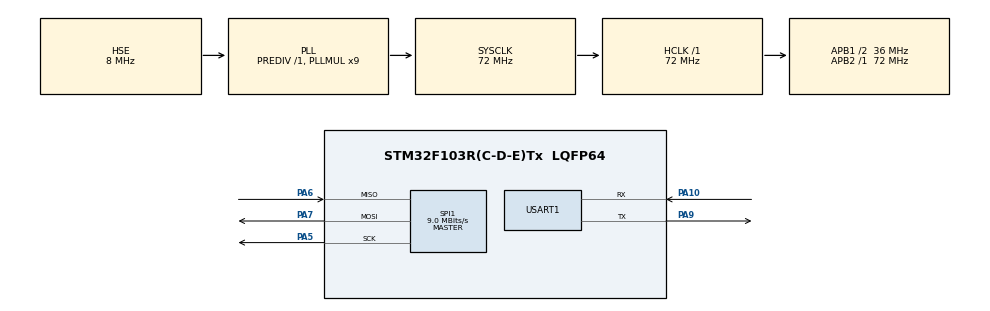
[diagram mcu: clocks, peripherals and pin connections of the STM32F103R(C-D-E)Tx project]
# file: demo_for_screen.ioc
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Mcu.Family=STM32F1
Mcu.Name=STM32F103R(C-D-E)Tx
Mcu.Package=LQFP64
NVIC.PriorityGroup=NVIC_PRIORITYGROUP_2
NVIC.SPI1_IRQn=true\:1\:0\:true\:false\:true\:true\:true\:true
NVIC.TIM2_IRQn=true\:1\:0\:true\:false\:true\:true\:true\:true
PA10.Mode=Asynchronous
PA10.Signal=USART1_RX
PA13.Mode=Serial_Wire
PA13.Signal=SYS_JTMS-SWDIO
PA14.Mode=Serial_Wire
PA14.Signal=SYS_JTCK-SWCLK
PA5.Mode=Full_Duplex_Master
PA5.Signal=SPI1_SCK
PA6.Mode=Full_Duplex_Master
PA6.Signal=SPI1_MISO
PA7.Mode=Full_Duplex_Master
PA7.Signal=SPI1_MOSI
PA9.Mode=Asynchronous
PA9.Signal=USART1_TX
PD0-OSC_IN.Mode=HSE-External-Oscillator
PD0-OSC_IN.Signal=RCC_OSC_IN
PD1-OSC_OUT.Mode=HSE-External-Oscillator
PD1-OSC_OUT.Signal=RCC_OSC_OUT
ProjectManager.HeapSize=0x200
ProjectManager.StackSize=0x400
ProjectManager.TargetToolchain=STM32CubeIDE
RCC.AHBFreq_Value=72000000
RCC.APB1CLKDivider=RCC_HCLK_DIV2
RCC.APB1Freq_Value=36000000
RCC.APB1TimFreq_Value=72000000
RCC.APB2Freq_Value=72000000
RCC.APB2TimFreq_Value=72000000
RCC.HCLKFreq_Value=72000000
RCC.PLLMUL=RCC_PLL_MUL9
RCC.PLLSourceVirtual=RCC_PLLSOURCE_HSE
RCC.SYSCLKFreq_VALUE=72000000
RCC.SYSCLKSource=RCC_SYSCLKSOURCE_PLLCLK
RCC.USBFreq_Value=72000000
SPI1.BaudRatePrescaler=SPI_BAUDRATEPRESCALER_8
SPI1.CalculateBaudRate=9.0 MBits/s
SPI1.Direction=SPI_DIRECTION_2LINES
SPI1.Mode=SPI_MODE_MASTER
SPI1.VirtualType=VM_MASTER
TIM2.Period=999
TIM2.Prescaler=7199
USART1.VirtualMode=VM_ASYNC
VP_TIM2_VS_ClockSourceINT.Mode=Internal
board=custom

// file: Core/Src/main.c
/* USER CODE BEGIN Header */
/**
  ******************************************************************************
  * @file           : main.c
  * @brief          : Main program body
  ******************************************************************************
  * @attention
  *
  * Copyright (c) 2022 STMicroelectronics.
  * All rights reserved.
  *
  * This software is licensed under terms that can be found in the LICENSE file
  * in the root directory of this software component.
  * If no LICENSE file comes with this software, it is provided AS-IS.
  *
  ******************************************************************************
  */
/* USER CODE END Header */
#include "main.h"

/* USER CODE BEGIN Includes */

/* Private includes ----------------------------------------------------------*/
/* USER CODE BEGIN Includes */
#include "sys.h"
#include "delay.h"
//#include "usart.h"
#include "led.h"
#include "key.h"
#include "lcd.h"
//#include "usmart.h"
#include "touch.h"
#include "24cxx.h"
#include "24l01.h" //通信驱动 基于spi进行通信
#include <stdlib.h>
#include <time.h>
#include <math.h>
#include <stdint.h>
//#include "remote.h" 红外遥控驱动
/* USER CODE END Includes */

/* USER CODE BEGIN PTD */
// 玩家形状尺寸
#define PLAYER_CIRCLE_RADIUS 20
#define PLAYER_RECT_WIDTH 40
#define PLAYER_RECT_HEIGHT 30
#define PLAYER_TRIANGLE_SIZE 40 // 假设为等边三角形，高度为40

// 障碍物形状尺寸
#define OBSTACLE_RECT_WIDTH 40
#define OBSTACLE_RECT_HEIGHT 30
#define OBSTACLE_CIRCLE_RADIUS 20
#define OBSTACLE_TRIANGLE_SIZE 40 // 假设为等边三角形，高度为40
#define MAX_OBSTACLES 4
typedef enum {
    SCENE_RUNNING,
    SCENE_SWIMMING,
    SCENE_ROWING,
    SCENE_MINING,
    SCENE_COUNT // 场景总数
} SceneType;

typedef enum {
    SHAPE_CIRCLE = 0,
    SHAPE_TRIANGLE,
    SHAPE_RECTANGLE,
    SHAPE_JUMP_ELLIPSE,      // 3
    SHAPE_JUMP_TRIANGLE_REVERSE, // 4
    SHAPE_JUMP_RECTANGLE_SMALL    // 5
} ShapeType;

ShapeType shape = SHAPE_CIRCLE;

// 当前场景
SceneType current_scene = SCENE_RUNNING;
int hit(int x, int y, u16 x_coordinate, u16 y_coordinate, ShapeType shape, int obstacle_shape);
typedef struct {
    u16 x;
    u16 y;
    u8 type; // 障碍物类型，根据场景不同可能有不同的表现
} Obstacle;

typedef enum {
    PLAYER_STATE_IDLE = 0,
    PLAYER_STATE_JUMPING,
    // 其他状态...
} PlayerState;
PlayerState player_state = PLAYER_STATE_IDLE;
Obstacle obstacles[MAX_OBSTACLES];

/* USER CODE END PTD */

/* USER CODE BEGIN PD */
unsigned char DATA_TO_SEND[800];
int state_num = 0;
u8 STATE[30];
UART_HandleTypeDef huart1;
int speed = 0;                 // 跑步速度
int initial_speed = 5;
u8 counter = 0;
//int x1,x2,y1,y2; //障碍物坐标
u16 background_color = WHITE;
/* USER CODE END PD */

/* USER CODE BEGIN PM */
void LCD_Draw_Shape(u16 x, u16 y, ShapeType shape) {
    switch(shape) {
        case SHAPE_CIRCLE:
            LCD_Draw_Circle(x, y, PLAYER_CIRCLE_RADIUS);
            break;
        case SHAPE_TRIANGLE:
            LCD_Draw_Triangle(x - 20, y + 20, x, y - 20, x + 20, y + 20);
            break;
        case SHAPE_RECTANGLE:
            LCD_DrawRectangle(x - 20, y - 15, x + 20, y + 15);
            break;
        case SHAPE_JUMP_ELLIPSE:
            LCD_Draw_Ellipse(x, y, 30, 15); // 确保有此函数
            break;
        case SHAPE_JUMP_TRIANGLE_REVERSE:
            LCD_Draw_Triangle(x - 20, y - 20, x, y + 20, x + 20, y - 20);
            break;
        case SHAPE_JUMP_RECTANGLE_SMALL:
            LCD_DrawRectangle(x - 10, y - 7, x + 10, y + 7);
            break;
        default:
            break;
    }
}

void LCD_Clear_Shape(u16 x, u16 y, u16 background_color, ShapeType shape) {
    POINT_COLOR = background_color;
    LCD_Draw_Shape(x, y, shape);
}

u16 perform_jump(u16 x, u16 y, ShapeType original_shape, ShapeType jump_shape, u16 background_color) {
    // 清除原始形状
    LCD_Clear_Shape(x, y, background_color, original_shape);
    y-=10;

    // 绘制跳跃形状
    POINT_COLOR = RED;
    LCD_Draw_Shape(x, y, jump_shape);

    // 延迟
    HAL_Delay(300);

    // 清除跳跃形状
    LCD_Clear_Shape(x, y, background_color, jump_shape);
    POINT_COLOR = RED;

    // 恢复原始形状
    LCD_Draw_Shape(x, y, original_shape);
    HAL_Delay(300);
    return y;
}

// 修改后的跳跃分支
u16 handle_jump(u16 x_coordinate, u16 y_coordinate, ShapeType current_shape, SceneType current_scene) {
    // 跳跃
    LED1 = !LED1;

    ShapeType jump_shape = SHAPE_CIRCLE; // 默认值

    // 根据当前场景和形状选择跳跃时的形状
    switch(current_scene) {
        case SCENE_RUNNING:
            jump_shape = SHAPE_JUMP_ELLIPSE;
            break;
        case SCENE_SWIMMING:
            // 例如，游泳场景的跳跃形状
        	jump_shape = SHAPE_JUMP_ELLIPSE;
            break;
        case SCENE_ROWING:
            // 例如，划船场景的跳跃形状
            // jump_shape = SHAPE_JUMP_ROWING; // 需要定义
        	jump_shape = SHAPE_JUMP_TRIANGLE_REVERSE;
            break;
        case SCENE_MINING:
            // 例如，采矿场景的跳跃形状
            // jump_shape = SHAPE_JUMP_MINING; // 需要定义
        	jump_shape = SHAPE_JUMP_RECTANGLE_SMALL;
            break;
        default:
            jump_shape = current_shape; // 默认不变
            break;
    }

    // 执行跳跃动画

    // 调整y坐标
    if(y_coordinate - 30 > 20){
        // 检查是否撞到障碍物
        for(int i = 0; i < MAX_OBSTACLES; i++) {
            if(hit(obstacles[i].x, obstacles[i].y, x_coordinate, y_coordinate - 90, current_shape, obstacles[i].type)) {
                // 过晚跳跃会撞到障碍物
                speed = 0;
                LCD_Clear(background_color);
                LCD_ShowString(lcddev.width / 2 - 150, lcddev.height / 2, 300, 24, 24, "You are dead!");
                HAL_Delay(1000);
                LCD_Clear(background_color);
                LCD_DisplayOff();
                return -1; // 发生碰撞后退出循环
            }
        }
        u16 temp = y_coordinate;
        y_coordinate -= 90;
        while(temp > y_coordinate){
        	temp = perform_jump(x_coordinate, temp, current_shape, jump_shape, background_color);
        }
        LCD_Clear(background_color);
    }
    return y_coordinate;
}

void init_random() {
    srand(HAL_GetTick());
}
static inline float clampf(float value, float min, float max)
{
    if(value < min) return min;
    if(value > max) return max;
    return value;
}
static inline float distance_squared(float x1, float y1, float x2, float y2)
{
    float dx = x1 - x2;
    float dy = y1 - y2;
    return dx * dx + dy * dy;
}
/**
 * @brief 检查点是否在三角形内
 * @param px 点的X坐标
 * @param py 点的Y坐标
 * @param x0 三角形第一个顶点的X坐标
 * @param y0 三角形第一个顶点的Y坐标
 * @param x1 三角形第二个顶点的X坐标
 * @param y1 三角形第二个顶点的Y坐标
 * @param x2 三角形第三个顶点的X坐标
 * @param y2 三角形第三个顶点的Y坐标
 * @return 1表示点在三角形内，0表示不在
 */
int point_in_triangle(float px, float py, float x0, float y0, float x1, float y1, float x2, float y2)
{
    float denominator = ((y1 - y2)*(x0 - x2) + (x2 - x1)*(y0 - y2));
    if (denominator == 0) return 0; // 三角形退化

    float a = ((y1 - y2)*(px - x2) + (x2 - x1)*(py - y2)) / denominator;
    float b = ((y2 - y0)*(px - x2) + (x0 - x2)*(py - y2)) / denominator;
    float c = 1.0f - a - b;

    return (a >= 0) && (b >= 0) && (c >= 0);
}

/**
 * @brief 计算点到线段的最短距离
 * @param px 点的X坐标
 * @param py 点的Y坐标
 * @param x1 线段起点的X坐标
 * @param y1 线段起点的Y坐标
 * @param x2 线段终点的X坐标
 * @param y2 线段终点的Y坐标
 * @return 点到线段的距离
 */
float distance_point_to_segment(float px, float py, float x1, float y1, float x2, float y2)
{
    float dx = x2 - x1;
    float dy = y2 - y1;

    if(dx == 0 && dy == 0) {
        // 线段退化为一个点
        return sqrtf(distance_squared(px, py, x1, y1));
    }

    float t = ((px - x1) * dx + (py - y1) * dy) / (dx * dx + dy * dy);
    t = clampf(t, 0.0f, 1.0f);

    float closest_x = x1 + t * dx;
    float closest_y = y1 + t * dy;

    return sqrtf(distance_squared(px, py, closest_x, closest_y));
}
/**
 * @brief 检查圆形与矩形是否碰撞
 * @param cx 圆心X坐标
 * @param cy 圆心Y坐标
 * @param radius 圆的半径
 * @param rect_center_x 矩形中心X坐标
 * @param rect_center_y 矩形中心Y坐标
 * @param rect_width 矩形宽度
 * @param rect_height 矩形高度
 * @return 1表示碰撞，0表示不碰撞
 */
int circle_rectangle_collision(float cx, float cy, float radius, float rect_center_x, float rect_center_y, float rect_width, float rect_height)
{
    float rect_x = rect_center_x - rect_width / 2;
    float rect_y = rect_center_y - rect_height / 2;

    float closest_x = clampf(cx, rect_x, rect_x + rect_width);
    float closest_y = clampf(cy, rect_y, rect_y + rect_height);

    float dist_sq = distance_squared(cx, cy, closest_x, closest_y);

    return (dist_sq <= (radius * radius));
}
/**
 * @brief 检查两个圆形是否碰撞
 * @param cx1 第一个圆心X坐标
 * @param cy1 第一个圆心Y坐标
 * @param r1 第一个圆的半径
 * @param cx2 第二个圆心X坐标
 * @param cy2 第二个圆心Y坐标
 * @param r2 第二个圆的半径
 * @return 1表示碰撞，0表示不碰撞
 */
int circle_circle_collision(float cx1, float cy1, float r1, float cx2, float cy2, float r2)
{
    float dist_sq = distance_squared(cx1, cy1, cx2, cy2);
    float radii_sum_sq = (r1 + r2) * (r1 + r2);
    return (dist_sq <= radii_sum_sq);
}
/**
 * @brief 检查圆形与三角形是否碰撞
 * @param cx 圆心X坐标
 * @param cy 圆心Y坐标
 * @param radius 圆的半径
 * @param tx 三角形中心X坐标
 * @param ty 三角形中心Y坐标
 * @param size 三角形尺寸（假设为等边三角形，高度）
 * @return 1表示碰撞，0表示不碰撞
 */
int circle_triangle_collision(float cx, float cy, float radius, float tx, float ty, float size)
{
    // 计算三角形的三个顶点坐标（假设为等边三角形，顶点朝上）
    float h = size; // 高度
    float half_base = size / 2.0f;

    float x0 = tx;
    float y0 = ty - (2.0f / 3.0f) * h;

    float x1 = tx - half_base;
    float y1 = ty + (1.0f / 3.0f) * h;

    float x2 = tx + half_base;
    float y2 = ty + (1.0f / 3.0f) * h;

    // 检查圆心是否在三角形内
    if(point_in_triangle(cx, cy, x0, y0, x1, y1, x2, y2)) return 1;

    // 检查圆是否与三角形的任意一条边相交
    if(distance_point_to_segment(cx, cy, x0, y0, x1, y1) <= radius) return 1;
    if(distance_point_to_segment(cx, cy, x1, y1, x2, y2) <= radius) return 1;
    if(distance_point_to_segment(cx, cy, x2, y2, x0, y0) <= radius) return 1;

    return 0;
}
/**
 * @brief 检查三角形与矩形是否碰撞
 * @param tx 三角形中心X坐标
 * @param ty 三角形中心Y坐标
 * @param size 三角形尺寸（假设为等边三角形，高度）
 * @param rx 矩形中心X坐标
 * @param ry 矩形中心Y坐标
 * @param rw 矩形宽度
 * @param rh 矩形高度
 * @return 1表示碰撞，0表示不碰撞
 */
int triangle_rectangle_collision(float tx, float ty, float size, float rx, float ry, float rw, float rh)
{
    // 计算三角形的三个顶点坐标（假设为等边三角形，顶点朝上）
    float h = size; // 高度
    float half_base = size / 2.0f;

    float x0 = tx;
    float y0 = ty - (2.0f / 3.0f) * h;

    float x1 = tx - half_base;
    float y1 = ty + (1.0f / 3.0f) * h;

    float x2 = tx + half_base;
    float y2 = ty + (1.0f / 3.0f) * h;

    // 矩形的四个顶点
    float rect_x_min = rx - rw / 2.0f;
    float rect_y_min = ry - rh / 2.0f;
    float rect_x_max = rx + rw / 2.0f;
    float rect_y_max = ry + rh / 2.0f;

    // 检查三角形的任意一个顶点是否在矩形内
    if( (x0 >= rect_x_min && x0 <= rect_x_max && y0 >= rect_y_min && y0 <= rect_y_max) ||
        (x1 >= rect_x_min && x1 <= rect_x_max && y1 >= rect_y_min && y1 <= rect_y_max) ||
        (x2 >= rect_x_min && x2 <= rect_x_max && y2 >= rect_y_min && y2 <= rect_y_max) )
        return 1;

    // 检查矩形的任意一个顶点是否在三角形内
    if(point_in_triangle(rect_x_min, rect_y_min, x0, y0, x1, y1, x2, y2)) return 1;
    if(point_in_triangle(rect_x_max, rect_y_min, x0, y0, x1, y1, x2, y2)) return 1;
    if(point_in_triangle(rect_x_max, rect_y_max, x0, y0, x1, y1, x2, y2)) return 1;
    if(point_in_triangle(rect_x_min, rect_y_max, x0, y0, x1, y1, x2, y2)) return 1;

    // 可选：检查三角形的边是否与矩形的边相交
    // 为简化，暂不实现

    return 0;
}
/**
 * @brief 检查两个三角形是否碰撞
 * @param tx1 第一个三角形的中心X坐标
 * @param ty1 第一个三角形的中心Y坐标
 * @param size1 第一个三角形的尺寸（假设为等边三角形，高度）
 * @param tx2 第二个三角形的中心X坐标
 * @param ty2 第二个三角形的中心Y坐标
 * @param size2 第二个三角形的尺寸（假设为等边三角形，高度）
 * @return 1表示碰撞，0表示不碰撞
 */
int triangle_triangle_collision(float tx1, float ty1, float size1, float tx2, float ty2, float size2)
{
    // 计算第一个三角形的三个顶点坐标（假设为等边三角形，顶点朝上）
    float h1 = size1;
    float half_base1 = size1 / 2.0f;

    float x0_1 = tx1;
    float y0_1 = ty1 - (2.0f / 3.0f) * h1;

    float x1_1 = tx1 - half_base1;
    float y1_1 = ty1 + (1.0f / 3.0f) * h1;

    float x2_1 = tx1 + half_base1;
    float y2_1 = ty1 + (1.0f / 3.0f) * h1;

    // 计算第二个三角形的三个顶点坐标（假设为等边三角形，顶点朝上）
    float h2 = size2;
    float half_base2 = size2 / 2.0f;

    float x0_2 = tx2;
    float y0_2 = ty2 - (2.0f / 3.0f) * h2;

    float x1_2 = tx2 - half_base2;
    float y1_2 = ty2 + (1.0f / 3.0f) * h2;

    float x2_2 = tx2 + half_base2;
    float y2_2 = ty2 + (1.0f / 3.0f) * h2;

    // 检查第一个三角形的任意一个顶点是否在第二个三角形内
    if(point_in_triangle(x0_1, y0_1, x0_2, y0_2, x1_2, y1_2, x2_2, y2_2)) return 1;
    if(point_in_triangle(x1_1, y1_1, x0_2, y0_2, x1_2, y1_2, x2_2, y2_2)) return 1;
    if(point_in_triangle(x2_1, y2_1, x0_2, y0_2, x1_2, y1_2, x2_2, y2_2)) return 1;

    // 检查第二个三角形的任意一个顶点是否在第一个三角形内
    if(point_in_triangle(x0_2, y0_2, x0_1, y0_1, x1_1, y1_1, x2_1, y2_1)) return 1;
    if(point_in_triangle(x1_2, y1_2, x0_1, y0_1, x1_1, y1_1, x2_1, y2_1)) return 1;
    if(point_in_triangle(x2_2, y2_2, x0_1, y0_1, x1_1, y1_1, x2_1, y2_1)) return 1;

    // 可选：检查两个三角形的边是否相交
    // 为简化，暂不实现

    return 0;
}

void generate_obstacles() {
    for(int i = 0; i < MAX_OBSTACLES; i++) {
        obstacles[i].x = rand() % (lcddev.width - 40) + 20; // 确保障碍物在屏幕内
        obstacles[i].y = rand() % (lcddev.height - 100) + 50; // 避免生成在玩家初始位置
        obstacles[i].type = rand() % 3; // 根据需要定义不同类型的障碍物
    }
}

void draw_obstacles() {
    for(int i = 0; i < MAX_OBSTACLES; i++) {
        if(obstacles[i].type == 0) {
            // 绘制矩形障碍物
            LCD_DrawRectangle(obstacles[i].x, obstacles[i].y, obstacles[i].x + 40, obstacles[i].y + 30);
        }
        else if(obstacles[i].type == 1) {
            // 绘制圆形障碍物
            LCD_Draw_Circle(obstacles[i].x, obstacles[i].y, 20);
        }
        else if(obstacles[i].type == 2) {
            // 绘制三角形障碍物（假设有此函数）
            // 需要根据具体的LCD库实现绘制三角形
             LCD_Draw_Triangle(obstacles[i].x-20,obstacles[i].y+20,obstacles[i].x,obstacles[i].y-20,obstacles[i].x+20,obstacles[i].y+20);
        }
    }
}

void draw_scene_background() {
    switch(current_scene) {
        case SCENE_RUNNING:
            // 绘制跑步场景背景
        	background_color = WHITE;
        	shape = SHAPE_CIRCLE;
            LCD_Clear(WHITE);
            // 可以添加更多跑步场景的元素
            break;
        case SCENE_SWIMMING:
            // 绘制游泳场景背景
        	background_color = CYAN;
            LCD_Clear(CYAN);
            shape = SHAPE_CIRCLE;
            // 可以添加更多游泳场景的元素
            break;
        case SCENE_ROWING:
            // 绘制划船场景背景
        	background_color = BLUE;
            LCD_Clear(BLUE);
            shape = SHAPE_TRIANGLE;
            // 可以添加更多划船场景的元素
            break;
        case SCENE_MINING:
            // 绘制采矿场景背景
        	background_color = GRAY;
            LCD_Clear(GRAY);
            shape = SHAPE_RECTANGLE;
            // 可以添加更多采矿场景的元素
            break;
        default:
        	background_color = WHITE;
            LCD_Clear(WHITE);
            shape = SHAPE_CIRCLE;
            break;
    }
}
void switch_scene() {
    current_scene = (current_scene + 1) % SCENE_COUNT;
    draw_scene_background();
    generate_obstacles();
}
//清空屏幕并在右上角显�???"RST"
void Load_Drow_Dialog(void)
{
	LCD_Clear(WHITE);//清屏
 	POINT_COLOR=BLUE;//设置字体为蓝�???
	LCD_ShowString(lcddev.width-24,0,200,16,16,"RST");//显示清屏区域
  	POINT_COLOR=RED;//设置画笔蓝色
}
////////////////////////////////////////////////////////////////////////////////
//电容触摸屏专有部�???
//画水平线
//x0,y0:坐标
//len:线长�???
//color:颜色
void gui_draw_hline(u16 x0,u16 y0,u16 len,u16 color)
{
	if(len==0)return;
	LCD_Fill(x0,y0,x0+len-1,y0,color);
}
//画实心圆
//x0,y0:坐标
//r:半径
//color:颜色
void gui_fill_circle(u16 x0,u16 y0,u16 r,u16 color)
{
	u32 i;
	u32 imax = ((u32)r*707)/1000+1;
	u32 sqmax = (u32)r*(u32)r+(u32)r/2;
	u32 x=r;
	gui_draw_hline(x0-r,y0,2*r,color);
	for (i=1;i<=imax;i++)
	{
		if ((i*i+x*x)>sqmax)// draw lines from outside
		{
 			if (x>imax)
			{
				gui_draw_hline (x0-i+1,y0+x,2*(i-1),color);
				gui_draw_hline (x0-i+1,y0-x,2*(i-1),color);
			}
			x--;
		}
		// draw lines from inside (center)
		gui_draw_hline(x0-x,y0+i,2*x,color);
		gui_draw_hline(x0-x,y0-i,2*x,color);
	}
}
//两个数之差的绝对�???
//x1,x2：需取差值的两个�???
//返回值：|x1-x2|
u16 my_abs(u16 x1,u16 x2)
{
	if(x1>x2)return x1-x2;
	else return x2-x1;
}
//画一条粗�???
//(x1,y1),(x2,y2):线条的起始坐�???
//size：线条的粗细程度
//color：线条的颜色

void screen_print(){
	LCD_Clear(WHITE);//清屏
	POINT_COLOR=BLUE;//设置字体为蓝�??
	LCD_ShowString(lcddev.width-24,0,200,16,16,"RST");//显示清屏区域
	LCD_ShowString(0,0,200,24,24, "SHOW PICTURE");
	LCD_ShowString(60,60,200,24,24, "SEND MESSAGE");
	LCD_ShowString(0, lcddev.height-24, 200, 16, 16, STATE);
	LCD_ShowString(0,110,200,24,24,"POKEMON GO");
	POINT_COLOR=RED;//设置画笔为红�??

}

void screen_draw_track(){
    // 根据当前场景绘制不同的跑道
    for (int i = 0; i <= lcddev.height - 50; i += 50){
        if(current_scene == SCENE_RUNNING) {
            POINT_COLOR = BLACK;
        }
        else if(current_scene == SCENE_SWIMMING) {
            POINT_COLOR = BLUE;
        }
        else if(current_scene == SCENE_ROWING) {
            POINT_COLOR = GREEN;
        }
        else if(current_scene == SCENE_MINING) {
            POINT_COLOR = BROWN;
        }
        LCD_DrawLine(lcddev.width/2, i, lcddev.width/2, i + 30);
    }
}

void screen_norm_print(u16 x, u16 y){
    LCD_Clear_Rectangle(lcddev.width-150,30,200,16,background_color);
    LCD_Clear_Rectangle(lcddev.width-150,50,200,16,background_color);
    char speed_info[80];
    sprintf(speed_info, "The speed is %d", speed);
    POINT_COLOR = BLUE;
    LCD_ShowString(lcddev.width-24,0,200,8,8,"RST"); //显示清屏区域
    char time_info[80];
    sprintf(time_info, "The time is %d",counter);
    screen_draw_track();
    draw_obstacles(); // 绘制障碍物
    POINT_COLOR = RED;
    // 根据当前场景绘制不同形状的玩家
    if(current_scene == SCENE_RUNNING || current_scene == SCENE_SWIMMING) {
        LCD_Draw_Circle(x, y, 20); // 选手
    }
    else if(current_scene == SCENE_ROWING) {
        // 绘制划船的形状，例如一个椭圆
    	LCD_Draw_Triangle(x - 20, y + 20, x, y - 20, x + 20, y + 20);
    }
    else if(current_scene == SCENE_MINING) {
        // 绘制采矿的形状，例如一个方块
        LCD_DrawRectangle(x - 20, y - 20, x + 20, y + 20);
    }
    LCD_ShowString(lcddev.width-150,30,200,16,16,speed_info); //显示当前速度
    LCD_ShowString(lcddev.width-150,70,200,16,16,time_info); //显示时间
    char initial_speed_info[80];
    sprintf(initial_speed_info, "Initial speed is %d", initial_speed);
    LCD_ShowString(lcddev.width-150,50,200,16,16,initial_speed_info); //显示初速度
    //画互动按钮
    LCD_ShowString(lcddev.width-40, lcddev.height-20, 200, 16, 16, "Jump");
    LCD_ShowString(lcddev.width-40, lcddev.height-100, 200, 16, 16, "Right");
    LCD_ShowString(lcddev.width-40, lcddev.height-180, 200, 16, 16, "Left");
}

void change_state(){
	if(state_num == 0){
		state_num = 1;
		sprintf(STATE, "STATE: ON");
	}else{
		state_num = 0;
		sprintf(STATE, "STATE: OFF");
	}
}

void lcd_draw_bline(u16 x1, u16 y1, u16 x2, u16 y2,u8 size,u16 color)
{
	u16 t;
	int xerr=0,yerr=0,delta_x,delta_y,distance;
	int incx,incy,uRow,uCol;
	if(x1<size|| x2<size||y1<size|| y2<size)return;
	delta_x=x2-x1; //计算坐标增量
	delta_y=y2-y1;
	uRow=x1;
	uCol=y1;
	if(delta_x>0)incx=1; //设置单步方向
	else if(delta_x==0)incx=0;//垂直�???
	else {incx=-1;delta_x=-delta_x;}
	if(delta_y>0)incy=1;
	else if(delta_y==0)incy=0;//水平�???
	else{incy=-1;delta_y=-delta_y;}
	if( delta_x>delta_y)distance=delta_x; //选取基本增量坐标�???
	else distance=delta_y;
	for(t=0;t<=distance+1;t++ )//画线输出
	{
		gui_fill_circle(uRow,uCol,size,color);//画点
		xerr+=delta_x ;
		yerr+=delta_y ;
		if(xerr>distance)
		{
			xerr-=distance;
			uRow+=incx;
		}
		if(yerr>distance)
		{
			yerr-=distance;
			uCol+=incy;
		}
	}
}
////////////////////////////////////////////////////////////////////////////////
//5个触控点的颜�???(电容触摸屏用)
const u16 POINT_COLOR_TBL[5]={RED,GREEN,BLUE,BROWN,GRED};
int max(int a,int b){
	return a > b ? a : b;
}
int min(int a, int b){
	return a < b ? a : b;
}
//int hit(int x, int y, u16 x_coordinate, u16 y_coordinate){
//	return ((x_coordinate >= (x - 20) && y_coordinate >= (y - 20)) && (x_coordinate <= (x + 40 + 20) && (y_coordinate <= (y + 30 + 20))));
//}
/**
 * @brief 检查玩家与障碍物是否碰撞
 * @param x 障碍物中心X坐标
 * @param y 障碍物中心Y坐标
 * @param x_coordinate 玩家中心X坐标
 * @param y_coordinate 玩家中心Y坐标
 * @param shape 玩家形状（0: 圆形, 1: 三角形, 2: 矩形）
 * @param obstacle_shape 障碍物形状（0: 矩形, 1: 圆形, 2: 三角形）
 * @return 1表示碰撞，0表示不碰撞
 */
int hit(int x, int y, u16 x_coordinate, u16 y_coordinate, ShapeType shape, int obstacle_shape)
{
    if(shape == SHAPE_CIRCLE) { // 玩家是圆形
        if(obstacle_shape == 0) { // 障碍物是矩形
            // 玩家圆形
            return circle_rectangle_collision(
                (float)x_coordinate,
                (float)y_coordinate,
                PLAYER_CIRCLE_RADIUS,
                (float)x,
                (float)y,
                OBSTACLE_RECT_WIDTH,
                OBSTACLE_RECT_HEIGHT
            );
        }
        else if(obstacle_shape == 1) { // 障碍物是圆形
            // 两个圆形
            return circle_circle_collision(
                (float)x_coordinate,
                (float)y_coordinate,
                PLAYER_CIRCLE_RADIUS,
                (float)x,
                (float)y,
                OBSTACLE_CIRCLE_RADIUS
            );
        }
        else if(obstacle_shape == 2) { // 障碍物是三角形
            // 玩家圆形与障碍物三角形
            return circle_triangle_collision(
                (float)x_coordinate,
                (float)y_coordinate,
                PLAYER_CIRCLE_RADIUS,
                (float)x,
                (float)y,
                OBSTACLE_TRIANGLE_SIZE
            );
        }
    }
    else if(shape == SHAPE_TRIANGLE) { // 玩家是三角形
        if(obstacle_shape == 0) { // 障碍物是矩形
            // 玩家三角形与障碍物矩形
            return triangle_rectangle_collision(
                (float)x_coordinate,
                (float)y_coordinate,
                PLAYER_TRIANGLE_SIZE,
                (float)x,
                (float)y,
                OBSTACLE_RECT_WIDTH,
                OBSTACLE_RECT_HEIGHT
            );
        }
        else if(obstacle_shape == 1) { // 障碍物是圆形
            // 障碍物圆形与玩家三角形
            return circle_triangle_collision(
                (float)x,
                (float)y,
                OBSTACLE_CIRCLE_RADIUS,
                (float)x_coordinate,
                (float)y_coordinate,
                PLAYER_TRIANGLE_SIZE
            );
        }
        else if(obstacle_shape == 2) { // 障碍物是三角形
            // 两个三角形
            return triangle_triangle_collision(
                (float)x_coordinate,
                (float)y_coordinate,
                PLAYER_TRIANGLE_SIZE,
                (float)x,
                (float)y,
                OBSTACLE_TRIANGLE_SIZE
            );
        }
    }
    else if(shape == SHAPE_RECTANGLE) { // 玩家是矩形
        if(obstacle_shape == 0) { // 障碍物是矩形
            // 玩家矩形与障碍物矩形（AABB碰撞）
            float player_left = (float)x_coordinate - PLAYER_RECT_WIDTH / 2.0f;
            float player_right = (float)x_coordinate + PLAYER_RECT_WIDTH / 2.0f;
            float player_top = (float)y_coordinate - PLAYER_RECT_HEIGHT / 2.0f;
            float player_bottom = (float)y_coordinate + PLAYER_RECT_HEIGHT / 2.0f;

            float obstacle_left = (float)x - OBSTACLE_RECT_WIDTH / 2.0f;
            float obstacle_right = (float)x + OBSTACLE_RECT_WIDTH / 2.0f;
            float obstacle_top = (float)y - OBSTACLE_RECT_HEIGHT / 2.0f;
            float obstacle_bottom = (float)y + OBSTACLE_RECT_HEIGHT / 2.0f;

            if(player_right < obstacle_left || player_left > obstacle_right ||
               player_bottom < obstacle_top || player_top > obstacle_bottom)
                return 0;
            else
                return 1;
        }
        else if(obstacle_shape == 1) { // 障碍物是圆形
            // 玩家矩形与障碍物圆形
            return circle_rectangle_collision(
                (float)x,
                (float)y,
                OBSTACLE_CIRCLE_RADIUS,
                (float)x_coordinate,
                (float)y_coordinate,
                PLAYER_RECT_WIDTH,
                PLAYER_RECT_HEIGHT
            );
        }
        else if(obstacle_shape == 2) { // 障碍物是三角形
            // 玩家矩形与障碍物三角形
            return triangle_rectangle_collision(
                (float)x,
                (float)y,
                OBSTACLE_TRIANGLE_SIZE,
                (float)x_coordinate,
                (float)y_coordinate,
                PLAYER_RECT_WIDTH,
                PLAYER_RECT_HEIGHT
            );
        }
    }

    return 0; // 默认不碰撞
}

void rtp_test(void)
{
	u8 key;
	u8 i=0;
	u8 flag = 0; //表示刚刚结束滑动
	u16 last_x = 0, last_y = 0;   // 上次触摸�?
	u32 stop_time = 0;             // 上次滑动的时�?
	int inertia = 1;               // 惯�?��?�度
	u32 start_time = 0;
	u16 x_coordinate = lcddev.width/2;
	u16 y_coordinate = lcddev.height - 30;
	u32 time_slot[2] = {0,0};
	u8 bit = 0;
	u8 escape_flag = 0;
	u8 escape_lock = 0;

	u32 race_start_time = HAL_GetTick();
	const u32 race_time_limit = 60000; // 比赛时间限制，单位毫秒（60秒）

	    // 初始化随机数
	init_random();
	generate_obstacles();

	draw_scene_background();
	while(1)
	{
	 	key=KEY_Scan(0);
		tp_dev.scan(0);
		screen_norm_print(x_coordinate,y_coordinate);
		if(key == KEY1_PRES) { // 按下KEY1切换场景
		            switch_scene();
		            // 重置玩家位置和速度
		            x_coordinate = lcddev.width / 2;
		            y_coordinate = lcddev.height - 30;
		            speed = initial_speed;
		            race_start_time = HAL_GetTick(); // 重置比赛开始时间
		 }
		if(tp_dev.sta&TP_PRES_DOWN)			//触摸屏被按下
		{
			escape_lock = 1;
			if(tp_dev.x[0]<lcddev.width&&tp_dev.y[0]<lcddev.height){
			if (tp_dev.x[0] > lcddev.width - 45 && tp_dev.y[0] > lcddev.height - 25){
				//跳跃
				LED1 = !LED1;
				if(player_state == PLAYER_STATE_IDLE){
					player_state = PLAYER_STATE_JUMPING;
					u16 temp = handle_jump(x_coordinate, y_coordinate, shape, current_scene);
					if(temp != -1){
						y_coordinate = temp;
					}
					player_state = PLAYER_STATE_IDLE;
				}
			}
			else if(tp_dev.x[0] > lcddev.width - 45 && tp_dev.y[0] > lcddev.height - 105 && tp_dev.y[0] <= lcddev.height - 25){
				//向右移动
				LED1 = !LED1;
				if(x_coordinate + 10 < lcddev.width - 20){
//					LCD_Clear_Circle(x_coordinate,y_coordinate,20,WHITE);
					LCD_Clear_Shape(x_coordinate,y_coordinate,background_color,shape);
					x_coordinate += 10;
				}
				else{
					//碰到边界，立即减速为0，提示需要转向
					speed = 0;
					LCD_ShowString(lcddev.width/2,lcddev.height/2,300,24,24,"TURN!");
					HAL_Delay(1000);
					LCD_Clear(background_color);
				}
			}
			else if(tp_dev.x[0] > lcddev.width - 45 && tp_dev.y[0] > lcddev.height - 185 && tp_dev.y[0] <= lcddev.height - 105){
				//向左移动
				LED1 = !LED1;
				if(x_coordinate - 10 > 20){
//					LCD_Clear_Circle(x_coordinate,y_coordinate,20,WHITE);
					LCD_Clear_Shape(x_coordinate,y_coordinate,background_color,shape);
					x_coordinate -= 10;
				}
				else{
					//碰到边界，立即减速为0，提示需要转向
					speed = 0;
					LCD_ShowString(lcddev.width/2,lcddev.height/2,300,24,24,"TURN!");
					HAL_Delay(1000);
					LCD_Clear(background_color);
				}
			}
			else if (tp_dev.x[0] <= lcddev.width - 45){
				if(flag){
					flag = 0;
					start_time = HAL_GetTick();
					time_slot[bit] = start_time - stop_time;
					bit = !bit;
					}
		 		if(last_x != 0 && last_y != 0){
		 			if(time_slot[1] > time_slot[0]){
		 				//频率降低，速度变小
		 				initial_speed = max(initial_speed - 1,1);
		 			}
		 			else{
		 				//频率增加，速度变大
		 				initial_speed = min(initial_speed + 1, 10);
		 			}
					if (tp_dev.y[0] < last_y){ //向上滑动：前�?
						speed = initial_speed; //初始速度
					}
					else if(tp_dev.y[0] > last_y){//向下滑动：后�?
						speed = -initial_speed;
					}
		 		}
				last_x = tp_dev.x[0];
				last_y = tp_dev.y[0];
			}
			}
		}
		else {
			if(escape_lock == 1){
				escape_flag = 0;
				escape_lock = 0;
			}
			if(!flag){
				flag = 1;
				stop_time = HAL_GetTick();
			}
			last_x = 0;
			last_y = 0;
			if (y_coordinate - speed < lcddev.height -30){
//						LCD_Clear_Circle(x_coordinate,y_coordinate,20,WHITE);
				LCD_Clear_Shape(x_coordinate,y_coordinate,background_color,shape);
						y_coordinate -= speed;
					}//移动
				 		//没有滑动时，慢慢减�??
				 		if(speed > 0){
				 			speed -= inertia;
				 			if(speed <0) speed = 0;
				 		}
				 		else if(speed <0){
				 			speed += inertia;
				 			if(speed >0) speed =0;
				 		}

			}

		for(int i = 0; i < MAX_OBSTACLES; i++) {
		            if(hit(obstacles[i].x, obstacles[i].y, x_coordinate, y_coordinate,shape,obstacles[i].type) && !escape_flag){
		                speed = 0;
		                escape_flag = 1; //等待触摸后将escape_flag重新置为0
		                escape_lock = 0;
		                LCD_Clear(background_color);
		                POINT_COLOR = RED;
		                LCD_ShowString(lcddev.width / 2, lcddev.height / 2, 300, 24, 24, "HIT!");
		                HAL_Delay(1000);
		                LCD_Clear(background_color);
		            }
		        }
		//完赛提示
		if (y_coordinate <= 20){
			u32 race_finish_time = HAL_GetTick();
			speed = 0;
			LCD_Clear(background_color);
			POINT_COLOR = RED;
			if (counter >= 30){
				LCD_ShowString(lcddev.width/2 - 100,lcddev.height/2,300,16,16,"Race is Finished out of time!");
			}
			else{
			LCD_ShowString(lcddev.width/2 - 100,lcddev.height/2,300,16,16,"Race is Finished in time!");
			}
			HAL_Delay(1000);
			LCD_Clear(background_color);
		}

		if(key==KEY0_PRES)	//KEY0按下,则执行校准程�???
		{
			LCD_Clear(WHITE);	//清屏
		    TP_Adjust();  		//屏幕校准
			TP_Save_Adjdata();
			Load_Drow_Dialog();
		}
		i++;
		if(i%15==0){LED0=!LED0; counter ++;};
	}
}
//电容触摸屏测试函�???
void ctp_test(void)
{
	u8 t=0;
	u8 i=0;
 	u16 lastpos[5][2];		//�???后一次的数据
	while(1)
	{
		tp_dev.scan(0);
		for(t=0;t<5;t++)
		{
			if((tp_dev.sta)&(1<<t))
			{
                //printf("X坐标:%d,Y坐标:%d\r\n",tp_dev.x[0],tp_dev.y[0]);
				if(tp_dev.x[t]<lcddev.width&&tp_dev.y[t]<lcddev.height)
				{
					if(lastpos[t][0]==0XFFFF)
					{
						lastpos[t][0] = tp_dev.x[t];
						lastpos[t][1] = tp_dev.y[t];
					}

					lcd_draw_bline(lastpos[t][0],lastpos[t][1],tp_dev.x[t],tp_dev.y[t],2,POINT_COLOR_TBL[t]);//画线
					lastpos[t][0]=tp_dev.x[t];
					lastpos[t][1]=tp_dev.y[t];
					if(tp_dev.x[t]>(lcddev.width-24)&&tp_dev.y[t]<20)
					{
						Load_Drow_Dialog();//清除
					}
				}
			}else lastpos[t][0]=0XFFFF;
		}

		delay_ms(5);i++;
		if(i%20==0)LED0=!LED0;
	}
}

/* USER CODE END PM */

SPI_HandleTypeDef hspi1;

TIM_HandleTypeDef htim2;

UART_HandleTypeDef huart1;

void SystemClock_Config(void);
static void MX_GPIO_Init(void);
static void MX_SPI1_Init(void);
static void MX_USART1_UART_Init(void);
static void MX_TIM2_Init(void);

int main(void)
{

  /* MCU Configuration--------------------------------------------------------*/

  /* Reset of all peripherals, Initializes the Flash interface and the Systick. */
  HAL_Init();

  /* USER CODE BEGIN Init */
  Stm32_Clock_Init(RCC_PLL_MUL9);   	//设置时钟,72M
	delay_init(72);               		//初始化延时函�???
//	uart_init(115200);					//初始化串�???
//	usmart_dev.init(84); 		  	  	//初始化USMART
	LED_Init();							//初始化LED
	KEY_Init();							//初始化按�???
	LCD_Init();							//初始化LCD
	tp_dev.init();				   		//触摸屏初始化
  /* USER CODE END Init */

  /* Configure the system clock */
  SystemClock_Config();

  /* Initialize all configured peripherals */
  MX_GPIO_Init();
  MX_SPI1_Init();
  MX_USART1_UART_Init();
  MX_TIM2_Init();
  /* USER CODE BEGIN 2 */
  init_random();
  HAL_TIM_Base_Start_IT(&htim2);
  POINT_COLOR=RED;
//  	LCD_ShowString(30,50,200,16,16,"Mini STM32");
//  	LCD_ShowString(30,70,200,16,16,"TOUCH TEST");
//  	LCD_ShowString(30,90,200,16,16,"ATOM@ALIENTEK");
//  	LCD_ShowString(30,110,200,16,16,"2019/11/15");
     	if(tp_dev.touchtype!=0XFF)
  	{
  		LCD_ShowString(30,130,200,16,16,"Press KEY0 to Adjust");//电阻屏才显示
  	}
  	delay_ms(1500);
   	Load_Drow_Dialog();

  	if(tp_dev.touchtype&0X80)ctp_test();//电容�??
  	else rtp_test(); 					//电阻�??
  /* USER CODE END 2 */

  /* Infinite loop */

}

void SystemClock_Config(void)
{
  RCC_OscInitTypeDef RCC_OscInitStruct = {0};
  RCC_ClkInitTypeDef RCC_ClkInitStruct = {0};

  /** Initializes the RCC Oscillators according to the specified parameters
  * in the RCC_OscInitTypeDef structure.
  */
  RCC_OscInitStruct.OscillatorType = RCC_OSCILLATORTYPE_HSE;
  RCC_OscInitStruct.HSEState = RCC_HSE_ON;
  RCC_OscInitStruct.HSEPredivValue = RCC_HSE_PREDIV_DIV1;
  RCC_OscInitStruct.HSIState = RCC_HSI_ON;
  RCC_OscInitStruct.PLL.PLLState = RCC_PLL_ON;
  RCC_OscInitStruct.PLL.PLLSource = RCC_PLLSOURCE_HSE;
  RCC_OscInitStruct.PLL.PLLMUL = RCC_PLL_MUL9;
  if (HAL_RCC_OscConfig(&RCC_OscInitStruct) != HAL_OK)
  {
    Error_Handler();
  }

  /** Initializes the CPU, AHB and APB buses clocks
  */
  RCC_ClkInitStruct.ClockType = RCC_CLOCKTYPE_HCLK|RCC_CLOCKTYPE_SYSCLK
                              |RCC_CLOCKTYPE_PCLK1|RCC_CLOCKTYPE_PCLK2;
  RCC_ClkInitStruct.SYSCLKSource = RCC_SYSCLKSOURCE_PLLCLK;
  RCC_ClkInitStruct.AHBCLKDivider = RCC_SYSCLK_DIV1;
  RCC_ClkInitStruct.APB1CLKDivider = RCC_HCLK_DIV2;
  RCC_ClkInitStruct.APB2CLKDivider = RCC_HCLK_DIV1;

  if (HAL_RCC_ClockConfig(&RCC_ClkInitStruct, FLASH_LATENCY_2) != HAL_OK)
  {
    Error_Handler();
  }
}

static void MX_SPI1_Init(void)
{

  /* SPI1 parameter configuration*/
  hspi1.Instance = SPI1;
  hspi1.Init.Mode = SPI_MODE_MASTER;
  hspi1.Init.Direction = SPI_DIRECTION_2LINES;
  hspi1.Init.DataSize = SPI_DATASIZE_8BIT;
  hspi1.Init.CLKPolarity = SPI_POLARITY_LOW;
  hspi1.Init.CLKPhase = SPI_PHASE_1EDGE;
  hspi1.Init.NSS = SPI_NSS_SOFT;
  hspi1.Init.BaudRatePrescaler = SPI_BAUDRATEPRESCALER_8;
  hspi1.Init.FirstBit = SPI_FIRSTBIT_MSB;
  hspi1.Init.TIMode = SPI_TIMODE_DISABLE;
  hspi1.Init.CRCCalculation = SPI_CRCCALCULATION_DISABLE;
  hspi1.Init.CRCPolynomial = 10;
  if (HAL_SPI_Init(&hspi1) != HAL_OK)
  {
    Error_Handler();
  }

}

static void MX_TIM2_Init(void)
{

  TIM_ClockConfigTypeDef sClockSourceConfig = {0};
  TIM_MasterConfigTypeDef sMasterConfig = {0};

  htim2.Instance = TIM2;
  htim2.Init.Prescaler = 7199;
  htim2.Init.CounterMode = TIM_COUNTERMODE_UP;
  htim2.Init.Period = 999;
  htim2.Init.ClockDivision = TIM_CLOCKDIVISION_DIV1;
  htim2.Init.AutoReloadPreload = TIM_AUTORELOAD_PRELOAD_DISABLE;
  if (HAL_TIM_Base_Init(&htim2) != HAL_OK)
  {
    Error_Handler();
  }
  sClockSourceConfig.ClockSource = TIM_CLOCKSOURCE_INTERNAL;
  if (HAL_TIM_ConfigClockSource(&htim2, &sClockSourceConfig) != HAL_OK)
  {
    Error_Handler();
  }
  sMasterConfig.MasterOutputTrigger = TIM_TRGO_RESET;
  sMasterConfig.MasterSlaveMode = TIM_MASTERSLAVEMODE_DISABLE;
  if (HAL_TIMEx_MasterConfigSynchronization(&htim2, &sMasterConfig) != HAL_OK)
  {
    Error_Handler();
  }

}

static void MX_USART1_UART_Init(void)
{

  huart1.Instance = USART1;
  huart1.Init.BaudRate = 115200;
  huart1.Init.WordLength = UART_WORDLENGTH_8B;
  huart1.Init.StopBits = UART_STOPBITS_1;
  huart1.Init.Parity = UART_PARITY_NONE;
  huart1.Init.Mode = UART_MODE_TX_RX;
  huart1.Init.HwFlowCtl = UART_HWCONTROL_NONE;
  huart1.Init.OverSampling = UART_OVERSAMPLING_16;
  if (HAL_UART_Init(&huart1) != HAL_OK)
  {
    Error_Handler();
  }

}

static void MX_GPIO_Init(void)
{

  /* GPIO Ports Clock Enable */
  __HAL_RCC_GPIOD_CLK_ENABLE();
  __HAL_RCC_GPIOA_CLK_ENABLE();

}

/* USER CODE BEGIN 4 */
//void HAL_TIM_PeriodElaspedCallback(TIM_HandleTypeDef *htim){
//	if (htim == &htim2){
//		screen_norm_print(x_coordinate,y_coordinate);
//	}
//	LED1 = !LED1;
//}

/* USER CODE END 4 */

void Error_Handler(void)
{
  __disable_irq();
  while (1)
  {
  }
}
